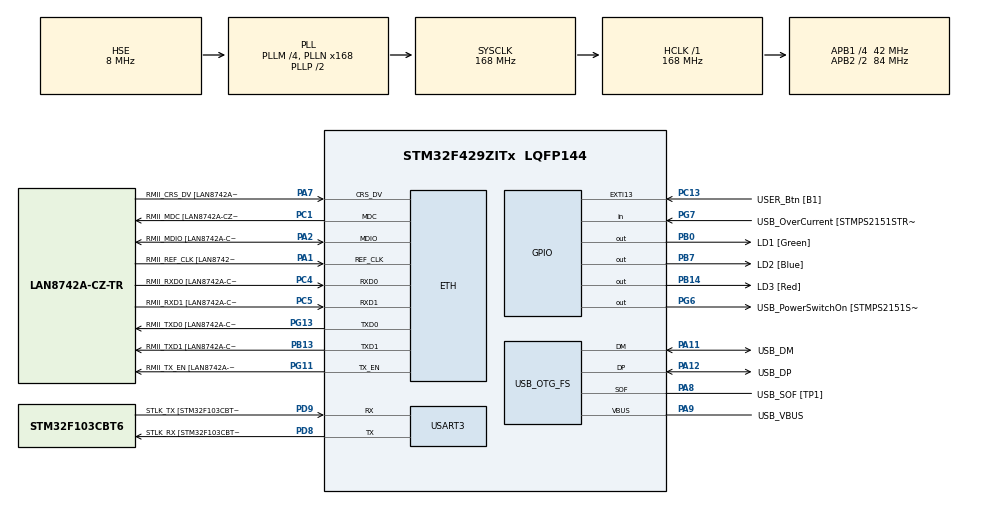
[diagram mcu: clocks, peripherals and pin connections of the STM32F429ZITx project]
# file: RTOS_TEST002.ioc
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ETH.MediaInterface=HAL_ETH_RMII_MODE
ETH.PHY_Name=LAN8742A_PHY_ADDRESS
ETH.PHY_Value=0
ETH.PhyAddress=0
FREERTOS.BinarySemaphores01=hBinarySem,Dynamic,NULL
FREERTOS.Tasks01=defaultTask,0,128,StartDefaultTask,Default,NULL,Dynamic,NULL,NULL
FREERTOS.configUSE_NEWLIB_REENTRANT=1
Mcu.Family=STM32F4
Mcu.Name=STM32F429ZITx
Mcu.Package=LQFP144
NVIC.EXTI15_10_IRQn=true\:5\:0\:false\:true\:true\:1\:true\:true\:true\:true
NVIC.PriorityGroup=NVIC_PRIORITYGROUP_4
NVIC.TIM4_IRQn=true\:15\:0\:false\:false\:true\:false\:false\:true\:true
NVIC.TimeBase=TIM4_IRQn
NVIC.TimeBaseIP=TIM4
PA1.GPIO_Label=RMII_REF_CLK [LAN8742A-CZ-TR_REFCLK0]
PA1.Mode=RMII
PA1.Signal=ETH_REF_CLK
PA10.GPIO_Label=USB_ID
PA10.Signal=USB_OTG_FS_ID
PA11.GPIO_Label=USB_DM
PA11.Mode=Device_Only
PA11.Signal=USB_OTG_FS_DM
PA12.GPIO_Label=USB_DP
PA12.Mode=Device_Only
PA12.Signal=USB_OTG_FS_DP
PA13.GPIO_Label=TMS
PA13.Mode=Serial_Wire
PA13.Signal=SYS_JTMS-SWDIO
PA14.GPIO_Label=TCK
PA14.Mode=Serial_Wire
PA14.Signal=SYS_JTCK-SWCLK
PA2.GPIO_Label=RMII_MDIO [LAN8742A-CZ-TR_MDIO]
PA2.Mode=RMII
PA2.Signal=ETH_MDIO
PA7.GPIO_Label=RMII_CRS_DV [LAN8742A-CZ-TR_CRS_DV]
PA7.Mode=RMII
PA7.Signal=ETH_CRS_DV
PA8.GPIO_Label=USB_SOF [TP1]
PA8.Mode=Activate_SOF_FS
PA8.Signal=USB_OTG_FS_SOF
PA9.GPIO_Label=USB_VBUS
PA9.Mode=Activate_VBUS
PA9.Signal=USB_OTG_FS_VBUS
PB0.GPIO_Label=LD1 [Green]
PB0.Signal=GPIO_Output
PB13.GPIO_Label=RMII_TXD1 [LAN8742A-CZ-TR_TXD1]
PB13.Mode=RMII
PB13.Signal=ETH_TXD1
PB14.GPIO_Label=LD3 [Red]
PB14.Signal=GPIO_Output
PB7.GPIO_Label=LD2 [Blue]
PB7.Signal=GPIO_Output
PC1.GPIO_Label=RMII_MDC [LAN8742A-CZ-TR_MDC]
PC1.Mode=RMII
PC1.Signal=ETH_MDC
PC13.GPIO_Label=USER_Btn [B1]
PC13.Signal=GPXTI13
PC14/OSC32_IN.Mode=LSE-External-Oscillator
PC14/OSC32_IN.Signal=RCC_OSC32_IN
PC15/OSC32_OUT.Mode=LSE-External-Oscillator
PC15/OSC32_OUT.Signal=RCC_OSC32_OUT
PC4.GPIO_Label=RMII_RXD0 [LAN8742A-CZ-TR_RXD0]
PC4.Mode=RMII
PC4.Signal=ETH_RXD0
PC5.GPIO_Label=RMII_RXD1 [LAN8742A-CZ-TR_RXD1]
PC5.Mode=RMII
PC5.Signal=ETH_RXD1
PD8.GPIO_Label=STLK_RX [STM32F103CBT6_PA3]
PD8.Mode=Asynchronous
PD8.Signal=USART3_TX
PD9.GPIO_Label=STLK_TX [STM32F103CBT6_PA2]
PD9.Mode=Asynchronous
PD9.Signal=USART3_RX
PG11.GPIO_Label=RMII_TX_EN [LAN8742A-CZ-TR_TXEN]
PG11.Mode=RMII
PG11.Signal=ETH_TX_EN
PG13.GPIO_Label=RMII_TXD0 [LAN8742A-CZ-TR_TXD0]
PG13.Mode=RMII
PG13.Signal=ETH_TXD0
PG6.GPIO_Label=USB_PowerSwitchOn [STMPS2151STR_EN]
PG6.Signal=GPIO_Output
PG7.GPIO_Label=USB_OverCurrent [STMPS2151STR_FAULT]
PG7.Signal=GPIO_Input
PH0/OSC_IN.GPIO_Label=MCO [STM32F103CBT6_PA8]
PH0/OSC_IN.Mode=HSE-External-Clock-Source
PH0/OSC_IN.Signal=RCC_OSC_IN
PH1/OSC_OUT.Mode=HSE-External-Clock-Source
PH1/OSC_OUT.Signal=RCC_OSC_OUT
ProjectManager.HeapSize=0x200
ProjectManager.StackSize=0x400
ProjectManager.TargetToolchain=STM32CubeIDE
RCC.48MHZClocksFreq_Value=48000000
RCC.AHBFreq_Value=168000000
RCC.APB1CLKDivider=RCC_HCLK_DIV4
RCC.APB1Freq_Value=42000000
RCC.APB1TimFreq_Value=84000000
RCC.APB2CLKDivider=RCC_HCLK_DIV2
RCC.APB2Freq_Value=84000000
RCC.APB2TimCLKDivider=2
RCC.APB2TimFreq_Value=168000000
RCC.CortexFreq_Value=168000000
RCC.HCLKFreq_Value=168000000
RCC.HSE_VALUE=8000000
RCC.HSI_VALUE=16000000
RCC.PLLM=4
RCC.PLLMUL=RCC_PLL_MUL9
RCC.PLLN=168
RCC.PLLQ=7
RCC.PRESCALERUSB=RCC_USBCLKSOURCE_PLL_DIV1_5
RCC.SYSCLKFreq_VALUE=168000000
RCC.SYSCLKSource=RCC_SYSCLKSOURCE_PLLCLK
RCC.SYSCLKSourceVirtual=RCC_SYSCLKSOURCE_PLLCLK
RCC.USBFreq_Value=48000000
RCC.VCOOutputFreq_Value=336000000
USART3.VirtualMode=VM_ASYNC
USB_OTG_FS.VirtualMode=Device_Only
VP_FREERTOS_VS_CMSIS_V1.Mode=CMSIS_V1
VP_SYS_VS_tim4.Mode=TIM4
board=NUCLEO-F429ZI

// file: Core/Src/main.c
/* USER CODE BEGIN Header */
/**
  ******************************************************************************
  * @file           : main.c
  * @brief          : Main program body
  ******************************************************************************
  * @attention
  *
  * Copyright (c) 2022 STMicroelectronics.
  * All rights reserved.
  *
  * This software is licensed under terms that can be found in the LICENSE file
  * in the root directory of this software component.
  * If no LICENSE file comes with this software, it is provided AS-IS.
  *
  ******************************************************************************
  */
/* USER CODE END Header */
#include "main.h"
#include "string.h"
#include "cmsis_os.h"

ETH_TxPacketConfig TxConfig;
ETH_DMADescTypeDef  DMARxDscrTab[ETH_RX_DESC_CNT]; /* Ethernet Rx DMA Descriptors */
ETH_DMADescTypeDef  DMATxDscrTab[ETH_TX_DESC_CNT]; /* Ethernet Tx DMA Descriptors */

ETH_HandleTypeDef heth;

UART_HandleTypeDef huart3;

PCD_HandleTypeDef hpcd_USB_OTG_FS;

osThreadId defaultTaskHandle;
osSemaphoreId hBinarySemHandle;
/* USER CODE BEGIN PV */

/*
typedef struct os_thread_def  {
  char                   *name;        ///< Thread name
  os_pthread             pthread;      ///< start address of thread function
  osPriority             tpriority;    ///< initial thread priority
  uint32_t               instances;    ///< maximum number of instances of that thread function
  uint32_t               stacksize;    ///< stack size requirements in bytes; 0 is default stack size
#if( configSUPPORT_STATIC_ALLOCATION == 1 )
  uint32_t               *buffer;      ///< stack buffer for static allocation; NULL for dynamic allocation
  osStaticThreadDef_t    *controlblock;     ///< control block to hold thread's data for static allocation; NULL for dynamic allocation
#endif
} osThreadDef_t;
 */

osThreadId Task2Handle;
const osThreadDef_t Task2_attributes = {
  .name = "Task2",
  .stacksize = 128 * 4,
  .tpriority = osPriorityNormal,
};

osThreadId Task3Handle;
const osThreadDef_t Task3_attributes = {
  .name = "Task3",
  .stacksize = 128 * 4,
  .tpriority =  osPriorityNormal,
};

/* USER CODE END PV */

void SystemClock_Config(void);
static void MX_GPIO_Init(void);
static void MX_ETH_Init(void);
static void MX_USART3_UART_Init(void);
static void MX_USB_OTG_FS_PCD_Init(void);
void StartDefaultTask(void const * argument);
static void MX_NVIC_Init(void);
/* USER CODE BEGIN PFP */
void StartTask2(void const * argument);
void StartTask3(void const * argument);
/* USER CODE END PFP */

int main(void)
{

  /* MCU Configuration--------------------------------------------------------*/

  /* Reset of all peripherals, Initializes the Flash interface and the Systick. */
  HAL_Init();

  /* Configure the system clock */
  SystemClock_Config();

  /* Initialize all configured peripherals */
  MX_GPIO_Init();
  MX_ETH_Init();
  MX_USART3_UART_Init();
  MX_USB_OTG_FS_PCD_Init();

  /* Initialize interrupts */
  MX_NVIC_Init();

  /* Create the semaphores(s) */
  /* definition and creation of hBinarySem */
  osSemaphoreDef(hBinarySem);
  hBinarySemHandle = osSemaphoreCreate(osSemaphore(hBinarySem), 1);

  /* Create the thread(s) */
  /* definition and creation of defaultTask */
  osThreadDef(defaultTask, StartDefaultTask, osPriorityNormal, 0, 128);
  defaultTaskHandle = osThreadCreate(osThread(defaultTask), NULL);

  /* USER CODE BEGIN RTOS_THREADS */
  /* add threads, ... */
  osThreadDef(Task2, StartTask2, osPriorityNormal, 0, 128);
  Task2Handle = osThreadCreate(osThread(Task2), NULL);

  osThreadDef(Task3, StartTask3, osPriorityNormal, 0, 128);
  Task3Handle = osThreadCreate(osThread(Task3), NULL);
  /* USER CODE END RTOS_THREADS */

  /* Start scheduler */
  osKernelStart();

  /* We should never get here as control is now taken by the scheduler */
  /* Infinite loop */
  while (1)
  {

  }
}

void SystemClock_Config(void)
{
  RCC_OscInitTypeDef RCC_OscInitStruct = {0};
  RCC_ClkInitTypeDef RCC_ClkInitStruct = {0};

  /** Configure the main internal regulator output voltage
  */
  __HAL_RCC_PWR_CLK_ENABLE();
  __HAL_PWR_VOLTAGESCALING_CONFIG(PWR_REGULATOR_VOLTAGE_SCALE1);

  /** Initializes the RCC Oscillators according to the specified parameters
  * in the RCC_OscInitTypeDef structure.
  */
  RCC_OscInitStruct.OscillatorType = RCC_OSCILLATORTYPE_HSE;
  RCC_OscInitStruct.HSEState = RCC_HSE_BYPASS;
  RCC_OscInitStruct.PLL.PLLState = RCC_PLL_ON;
  RCC_OscInitStruct.PLL.PLLSource = RCC_PLLSOURCE_HSE;
  RCC_OscInitStruct.PLL.PLLM = 4;
  RCC_OscInitStruct.PLL.PLLN = 168;
  RCC_OscInitStruct.PLL.PLLP = RCC_PLLP_DIV2;
  RCC_OscInitStruct.PLL.PLLQ = 7;
  if (HAL_RCC_OscConfig(&RCC_OscInitStruct) != HAL_OK)
  {
    Error_Handler();
  }

  /** Initializes the CPU, AHB and APB buses clocks
  */
  RCC_ClkInitStruct.ClockType = RCC_CLOCKTYPE_HCLK|RCC_CLOCKTYPE_SYSCLK
                              |RCC_CLOCKTYPE_PCLK1|RCC_CLOCKTYPE_PCLK2;
  RCC_ClkInitStruct.SYSCLKSource = RCC_SYSCLKSOURCE_PLLCLK;
  RCC_ClkInitStruct.AHBCLKDivider = RCC_SYSCLK_DIV1;
  RCC_ClkInitStruct.APB1CLKDivider = RCC_HCLK_DIV4;
  RCC_ClkInitStruct.APB2CLKDivider = RCC_HCLK_DIV2;

  if (HAL_RCC_ClockConfig(&RCC_ClkInitStruct, FLASH_LATENCY_5) != HAL_OK)
  {
    Error_Handler();
  }
}

/**
  * @brief NVIC Configuration.
  * @retval None
  */
static void MX_NVIC_Init(void)
{
  /* EXTI15_10_IRQn interrupt configuration */
  HAL_NVIC_SetPriority(EXTI15_10_IRQn, 5, 0);
  HAL_NVIC_EnableIRQ(EXTI15_10_IRQn);
}

static void MX_ETH_Init(void)
{

   static uint8_t MACAddr[6];

  heth.Instance = ETH;
  MACAddr[0] = 0x00;
  MACAddr[1] = 0x80;
  MACAddr[2] = 0xE1;
  MACAddr[3] = 0x00;
  MACAddr[4] = 0x00;
  MACAddr[5] = 0x00;
  heth.Init.MACAddr = &MACAddr[0];
  heth.Init.MediaInterface = HAL_ETH_RMII_MODE;
  heth.Init.TxDesc = DMATxDscrTab;
  heth.Init.RxDesc = DMARxDscrTab;
  heth.Init.RxBuffLen = 1524;

  if (HAL_ETH_Init(&heth) != HAL_OK)
  {
    Error_Handler();
  }

  memset(&TxConfig, 0 , sizeof(ETH_TxPacketConfig));
  TxConfig.Attributes = ETH_TX_PACKETS_FEATURES_CSUM | ETH_TX_PACKETS_FEATURES_CRCPAD;
  TxConfig.ChecksumCtrl = ETH_CHECKSUM_IPHDR_PAYLOAD_INSERT_PHDR_CALC;
  TxConfig.CRCPadCtrl = ETH_CRC_PAD_INSERT;

}

static void MX_USART3_UART_Init(void)
{

  huart3.Instance = USART3;
  huart3.Init.BaudRate = 115200;
  huart3.Init.WordLength = UART_WORDLENGTH_8B;
  huart3.Init.StopBits = UART_STOPBITS_1;
  huart3.Init.Parity = UART_PARITY_NONE;
  huart3.Init.Mode = UART_MODE_TX_RX;
  huart3.Init.HwFlowCtl = UART_HWCONTROL_NONE;
  huart3.Init.OverSampling = UART_OVERSAMPLING_16;
  if (HAL_UART_Init(&huart3) != HAL_OK)
  {
    Error_Handler();
  }

}

static void MX_USB_OTG_FS_PCD_Init(void)
{

  hpcd_USB_OTG_FS.Instance = USB_OTG_FS;
  hpcd_USB_OTG_FS.Init.dev_endpoints = 4;
  hpcd_USB_OTG_FS.Init.speed = PCD_SPEED_FULL;
  hpcd_USB_OTG_FS.Init.dma_enable = DISABLE;
  hpcd_USB_OTG_FS.Init.phy_itface = PCD_PHY_EMBEDDED;
  hpcd_USB_OTG_FS.Init.Sof_enable = ENABLE;
  hpcd_USB_OTG_FS.Init.low_power_enable = DISABLE;
  hpcd_USB_OTG_FS.Init.lpm_enable = DISABLE;
  hpcd_USB_OTG_FS.Init.vbus_sensing_enable = ENABLE;
  hpcd_USB_OTG_FS.Init.use_dedicated_ep1 = DISABLE;
  if (HAL_PCD_Init(&hpcd_USB_OTG_FS) != HAL_OK)
  {
    Error_Handler();
  }

}

static void MX_GPIO_Init(void)
{
  GPIO_InitTypeDef GPIO_InitStruct = {0};

  /* GPIO Ports Clock Enable */
  __HAL_RCC_GPIOC_CLK_ENABLE();
  __HAL_RCC_GPIOH_CLK_ENABLE();
  __HAL_RCC_GPIOA_CLK_ENABLE();
  __HAL_RCC_GPIOB_CLK_ENABLE();
  __HAL_RCC_GPIOD_CLK_ENABLE();
  __HAL_RCC_GPIOG_CLK_ENABLE();

  /*Configure GPIO pin Output Level */
  HAL_GPIO_WritePin(GPIOB, LD1_Pin|LD3_Pin|LD2_Pin, GPIO_PIN_RESET);

  /*Configure GPIO pin Output Level */
  HAL_GPIO_WritePin(USB_PowerSwitchOn_GPIO_Port, USB_PowerSwitchOn_Pin, GPIO_PIN_RESET);

  /*Configure GPIO pin : USER_Btn_Pin */
  GPIO_InitStruct.Pin = USER_Btn_Pin;
  GPIO_InitStruct.Mode = GPIO_MODE_IT_RISING;
  GPIO_InitStruct.Pull = GPIO_NOPULL;
  HAL_GPIO_Init(USER_Btn_GPIO_Port, &GPIO_InitStruct);

  /*Configure GPIO pins : LD1_Pin LD3_Pin LD2_Pin */
  GPIO_InitStruct.Pin = LD1_Pin|LD3_Pin|LD2_Pin;
  GPIO_InitStruct.Mode = GPIO_MODE_OUTPUT_PP;
  GPIO_InitStruct.Pull = GPIO_NOPULL;
  GPIO_InitStruct.Speed = GPIO_SPEED_FREQ_LOW;
  HAL_GPIO_Init(GPIOB, &GPIO_InitStruct);

  /*Configure GPIO pin : USB_PowerSwitchOn_Pin */
  GPIO_InitStruct.Pin = USB_PowerSwitchOn_Pin;
  GPIO_InitStruct.Mode = GPIO_MODE_OUTPUT_PP;
  GPIO_InitStruct.Pull = GPIO_NOPULL;
  GPIO_InitStruct.Speed = GPIO_SPEED_FREQ_LOW;
  HAL_GPIO_Init(USB_PowerSwitchOn_GPIO_Port, &GPIO_InitStruct);

  /*Configure GPIO pin : USB_OverCurrent_Pin */
  GPIO_InitStruct.Pin = USB_OverCurrent_Pin;
  GPIO_InitStruct.Mode = GPIO_MODE_INPUT;
  GPIO_InitStruct.Pull = GPIO_NOPULL;
  HAL_GPIO_Init(USB_OverCurrent_GPIO_Port, &GPIO_InitStruct);

}

/* USER CODE BEGIN 4 */
void HAL_GPIO_EXTI_Callback(uint16_t GPIO_Pin)
{
  /* Prevent unused argument(s) compilation warning */
	osSemaphoreRelease(hBinarySemHandle);
}

StartTask2(void const * argument);
StartTask3(void const * argument);

/* USER CODE END 4 */

void StartDefaultTask(void const * argument)
{
  /* USER CODE BEGIN 5 */
	uint8_t uart_buf[30];
	/* Infinite loop */
	for (;;) {
		if (hBinarySemHandle != NULL) {
			if (osSemaphoreWait(hBinarySemHandle, 0) == osOK) {
				HAL_GPIO_WritePin(GPIOB, GPIO_PIN_7, GPIO_PIN_SET);
				osDelay(100);
				HAL_GPIO_WritePin(GPIOB, GPIO_PIN_7, GPIO_PIN_RESET);

				memset(uart_buf, 0, sizeof(uart_buf));
				sprintf(uart_buf, "\r\nKorea \r\n");
				HAL_UART_Transmit(&huart3, uart_buf, sizeof(uart_buf), 100);
			}
		}

		HAL_GPIO_WritePin(GPIOB, GPIO_PIN_0, GPIO_PIN_SET);
		osDelay(100);
		HAL_GPIO_WritePin(GPIOB, GPIO_PIN_0, GPIO_PIN_RESET);
		osDelay(100);
	}
  /* USER CODE END 5 */
}

void HAL_TIM_PeriodElapsedCallback(TIM_HandleTypeDef *htim)
{
  if (htim->Instance == TIM4) {
    HAL_IncTick();
  }
}

void Error_Handler(void)
{
  __disable_irq();
  while (1)
  {
  }
}
